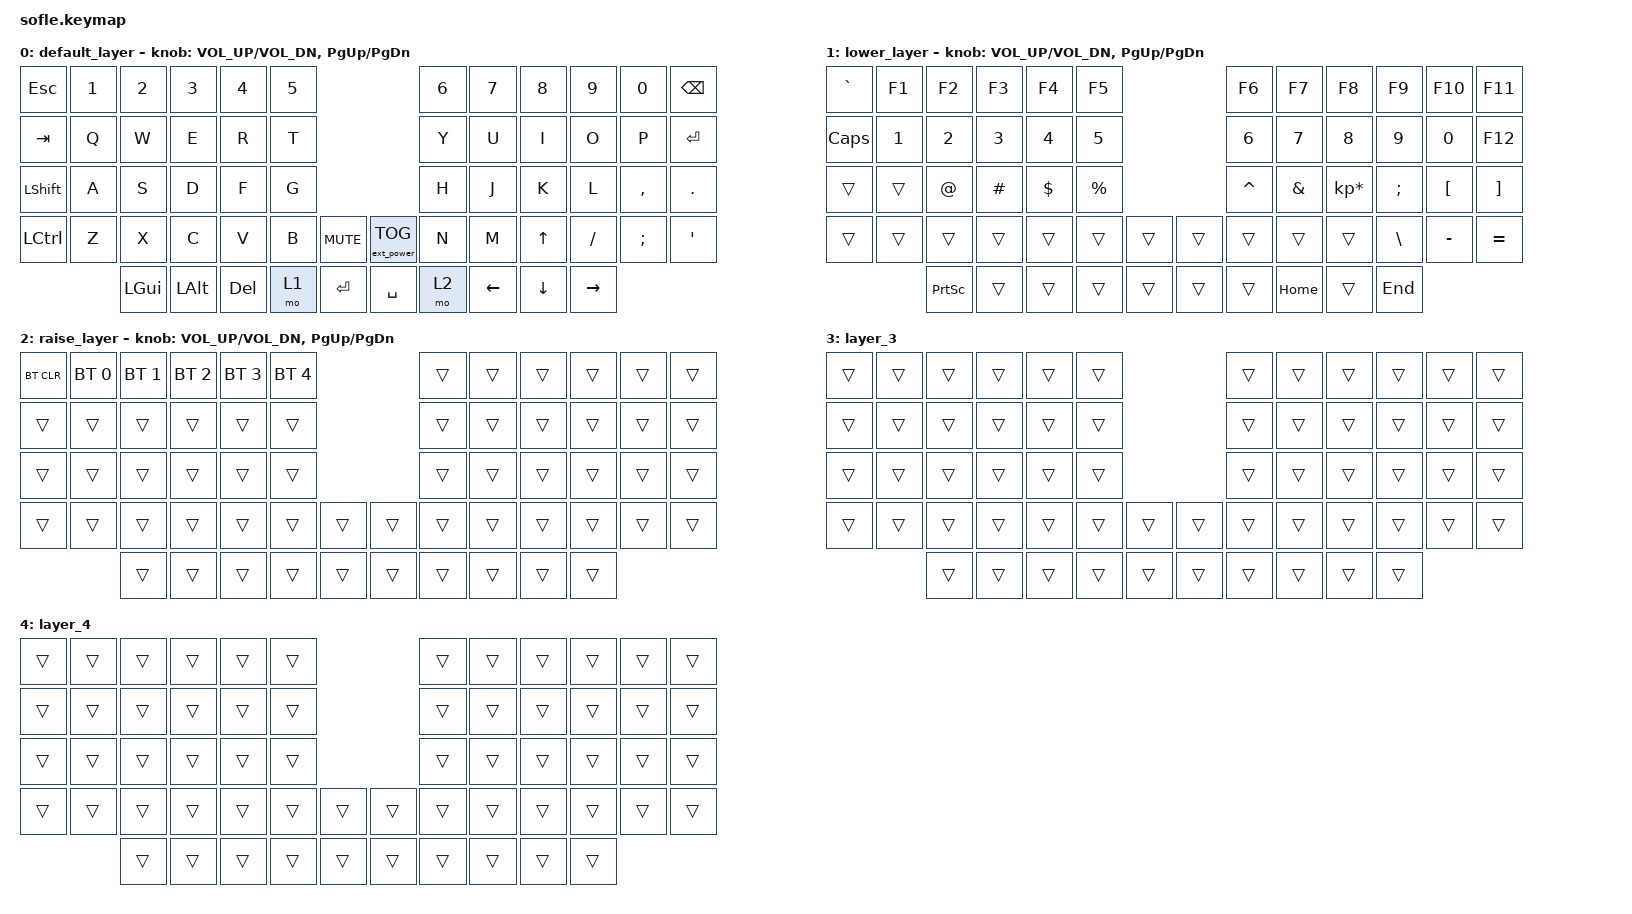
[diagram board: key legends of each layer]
/*
 * Copyright (c) 2020 The ZMK Contributors
 *
 * SPDX-License-Identifier: MIT
 */

#include <behaviors.dtsi>
#include <dt-bindings/zmk/bt.h>
#include <dt-bindings/zmk/ext_power.h>
#include <dt-bindings/zmk/keys.h>

/ {
    keymap {
        compatible = "zmk,keymap";

        default_layer {
            // ------------------------------------------------------------------------------------------------------------
            // |  `    |  1  |  2  |  3   |  4   |  5   |                   |  6   |  7    |  8    |  9   |   0   |       |
            // |  ESC  |  Q  |  W  |  E   |  R   |  T   |                   |  Y   |  U    |  I    |  O   |   P   | BKSPC |
            // |  TAB  |  A  |  S  |  D   |  F   |  G   |                   |  H   |  J    |  K    |  L   |   ;   |   '   |
            // | SHIFT |  Z  |  X  |  C   |  V   |  B   |  MUTE  |  |       |  N   |  M    |  ,    |  .   |   /   | SHIFT |
            //               | GUI | ALT  | CTRL | LOWER|  ENTER |  | SPACE | RAISE| CTRL  | ALT   | GUI  |

            bindings = <
&kp ESCAPE        &kp N1  &kp N2    &kp N3    &kp N4      &kp N5                                   &kp N6  &kp N7    &kp N8    &kp N9     &kp N0     &kp BACKSPACE
&kp TAB           &kp Q   &kp W     &kp E     &kp R       &kp T                                    &kp Y   &kp U     &kp I     &kp O      &kp P      &kp ENTER
&kp LEFT_SHIFT    &kp A   &kp S     &kp D     &kp F       &kp G                                    &kp H   &kp J     &kp K     &kp L      &kp COMMA  &kp DOT
&kp LEFT_CONTROL  &kp Z   &kp X     &kp C     &kp V       &kp B   &kp C_MUTE    &ext_power EP_TOG  &kp N   &kp M     &kp UP    &kp FSLH   &kp SEMI   &kp APOSTROPHE
                          &kp LGUI  &kp LALT  &kp DELETE  &mo 1   &kp ENTER     &kp SPACE          &mo 2   &kp LEFT  &kp DOWN  &kp RIGHT
            >;

            sensor-bindings = <&inc_dec_kp C_VOL_UP C_VOL_DN &inc_dec_kp PG_UP PG_DN>;
        };

        lower_layer {
            // TODO: Some binds are waiting for shifted keycode support.
            // ------------------------------------------------------------------------------------------------------------
            // | `     |  F1 |  F2 |  F3  |  F4  |  F5  |                   |  F6  |  F7   |  F8   |  F9  |  F10  |  F11  |
            // | RAISE |   1 |   2 |   3  |   4  |   5  |                   |   6  |   7   |   8   |   9  |    0  |  F12  |
            // |       |  !  |  @  |  #   |  $   |  %   |                   |  ^   |  &    |  *    |  (   |   )   |   |   |
            // |       |  =  |  -  |  +   |  {   |  }   |        |  |       |  [   |  ]    |  ;    |  :   |   \   |       |
            //               |     |      |      |      |        |  |       |      |       |       |      |

            bindings = <
&kp GRAVE  &kp F1  &kp F2           &kp F3    &kp F4    &kp F5                       &kp F6     &kp F7    &kp F8           &kp F9         &kp F10           &kp F11
&kp CAPS   &kp N1  &kp N2           &kp N3    &kp N4    &kp N5                       &kp N6     &kp N7    &kp N8           &kp N9         &kp N0            &kp F12
&trans     &trans  &kp AT           &kp HASH  &kp DLLR  &kp PRCNT                    &kp CARET  &kp AMPS  &kp KP_MULTIPLY  &kp SEMICOLON  &kp LEFT_BRACKET  &kp RIGHT_BRACKET
&trans     &trans  &trans           &trans    &trans    &trans     &trans    &trans  &trans     &trans    &trans           &kp BACKSLASH  &kp MINUS         &kp EQUAL
                   &kp PRINTSCREEN  &trans    &trans    &trans     &trans    &trans  &trans     &kp HOME  &trans           &kp END
            >;

            sensor-bindings = <&inc_dec_kp C_VOL_UP C_VOL_DN &inc_dec_kp PG_UP PG_DN>;
        };

        raise_layer {
            // ------------------------------------------------------------------------------------------------------------
            // |BTCLR| BT1  | BT2  |  BT3  |  BT4  |  BT5 |                |      |      |       |      |       |       |
            // |     | INS  | PSCR | GUI   |       |      |                | PGUP |      |       |      |       |       |
            // |     | ALT  | CTRL | SHIFT |       | CAPS |                |  <-  |   v  |   ^   |  ->  |  DEL  | BKSPC |
            // |     | UNDO | CUT  | COPY  | PASTE |      |      |  |      |      |      |       |      |       |       |
            //              |      |       |       |      |      |  |      |      |      |       |      |

            bindings = <
&bt BT_CLR  &bt BT_SEL 0  &bt BT_SEL 1  &bt BT_SEL 2  &bt BT_SEL 3  &bt BT_SEL 4                    &trans  &trans  &trans  &trans  &trans  &trans
&trans      &trans        &trans        &trans        &trans        &trans                          &trans  &trans  &trans  &trans  &trans  &trans
&trans      &trans        &trans        &trans        &trans        &trans                          &trans  &trans  &trans  &trans  &trans  &trans
&trans      &trans        &trans        &trans        &trans        &trans        &trans    &trans  &trans  &trans  &trans  &trans  &trans  &trans
                          &trans        &trans        &trans        &trans        &trans    &trans  &trans  &trans  &trans  &trans
            >;

            sensor-bindings = <&inc_dec_kp C_VOL_UP C_VOL_DN &inc_dec_kp PG_UP PG_DN>;
        };

        layer_3 {
            bindings = <
&trans  &trans  &trans  &trans  &trans  &trans                    &trans  &trans  &trans  &trans  &trans  &trans
&trans  &trans  &trans  &trans  &trans  &trans                    &trans  &trans  &trans  &trans  &trans  &trans
&trans  &trans  &trans  &trans  &trans  &trans                    &trans  &trans  &trans  &trans  &trans  &trans
&trans  &trans  &trans  &trans  &trans  &trans  &trans    &trans  &trans  &trans  &trans  &trans  &trans  &trans
                &trans  &trans  &trans  &trans  &trans    &trans  &trans  &trans  &trans  &trans
            >;
        };

        layer_4 {
            bindings = <
&trans  &trans  &trans  &trans  &trans  &trans                    &trans  &trans  &trans  &trans  &trans  &trans
&trans  &trans  &trans  &trans  &trans  &trans                    &trans  &trans  &trans  &trans  &trans  &trans
&trans  &trans  &trans  &trans  &trans  &trans                    &trans  &trans  &trans  &trans  &trans  &trans
&trans  &trans  &trans  &trans  &trans  &trans  &trans    &trans  &trans  &trans  &trans  &trans  &trans  &trans
                &trans  &trans  &trans  &trans  &trans    &trans  &trans  &trans  &trans  &trans
            >;
        };
    };
};
